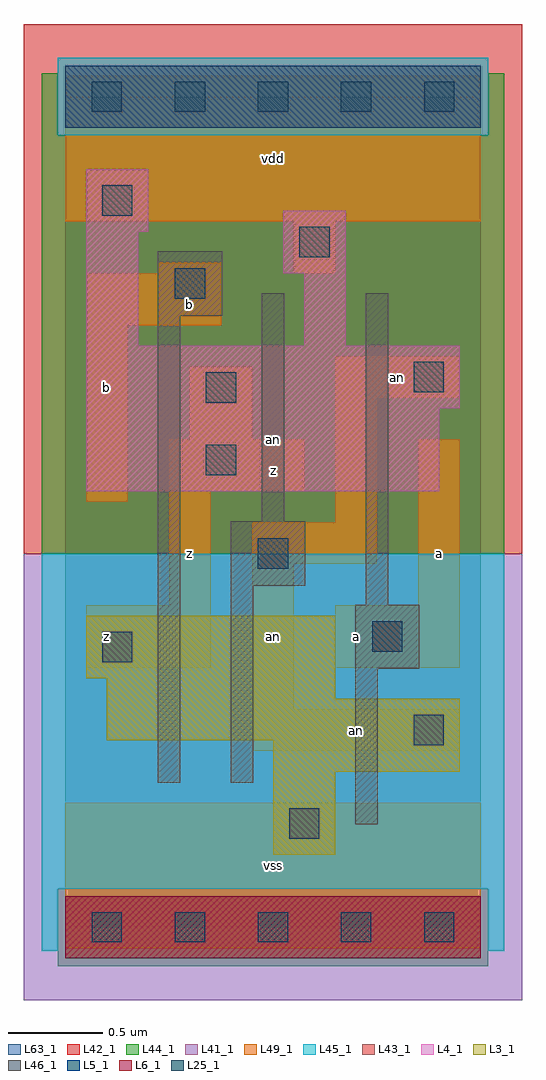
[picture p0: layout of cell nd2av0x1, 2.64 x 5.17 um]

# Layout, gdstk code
import gdstk
lib = gdstk.Library(unit=1e-6, precision=1e-09)
def R(c, l, rs):  # rectangles x0, y0, x1, y1
    for r in rs: c.add(gdstk.rectangle(r[:2], r[2:], *l))
def A(c, l, x, y, w, h, nx, ny, dx, dy):  # array of equal rectangles
    R(c, l, [(x+i*dx, y+j*dy, x+i*dx+w, y+j*dy+h) for i in range(nx) for j in range(ny)])
L3_1 = (3, 1)
L4_1 = (4, 1)
L5_1 = (5, 1)
L6_1 = (6, 1)
L25_1 = (25, 1)
L41_1 = (41, 1)
L42_1 = (42, 1)
L43_1 = (43, 1)
L44_1 = (44, 1)
L45_1 = (45, 1)
L46_1 = (46, 1)
L49_1 = (49, 1)
L63_1 = (63, 1)

nd2av0x1 = lib.new_cell('nd2av0x1')
R(nd2av0x1, L3_1, [(1.1,0.385,1.43,0.825), (1.1,0.825,2.09,0.99), (0.22,0.99,2.09,1.21), (0.22,1.21,1.43,1.32), (0.11,1.32,1.43,1.65)])
R(nd2av0x1, L4_1, [(0.11,2.31,1.98,2.75), (0.11,2.75,2.09,3.08), (0.11,3.08,0.385,3.685), (1.265,3.08,1.485,3.465), (1.155,3.465,1.485,3.795), (0.11,3.685,0.44,4.015)])
R(nd2av0x1, L5_1, [(0,4.235,2.2,4.565)])
R(nd2av0x1, L6_1, [(0,-0.165,2.2,0.165)])
A(nd2av0x1, L25_1, 0.14, -0.08, 0.16, 0.16, 5, 2, 0.44, 4.4)
R(nd2av0x1, L25_1, [(1.185,0.47,1.345,0.63), (1.845,0.965,2.005,1.125), (0.195,1.405,0.355,1.565), (1.625,1.46,1.785,1.62), (1.02,1.9,1.18,2.06), (0.745,2.395,0.905,2.555), (0.745,2.78,0.905,2.94), (1.845,2.835,2.005,2.995), (0.58,3.33,0.74,3.49), (1.24,3.55,1.4,3.71), (0.195,3.77,0.355,3.93)])
R(nd2av0x1, L41_1, [(-0.22,-0.385,2.42,1.98)])
R(nd2av0x1, L42_1, [(-0.22,1.98,2.42,4.785)])
R(nd2av0x1, L43_1, [(0,-0.165,2.2,0.165), (1.1,0.385,1.43,0.825), (1.1,0.825,2.09,0.99), (0.22,0.99,2.09,1.21), (0.22,1.21,1.43,1.32), (0.11,1.32,1.43,1.65), (0.11,2.31,1.98,2.75), (0.11,2.75,2.09,3.08), (0.11,3.08,0.385,3.685), (1.265,3.08,1.485,3.465), (1.155,3.465,1.485,3.795), (0.11,3.685,0.44,4.015), (0,4.235,2.2,4.565)])
R(nd2av0x1, L44_1, [(-0.04,-0.205,2.24,0.205), (-0.125,1.98,2.325,4.195), (-0.125,4.195,-0.04,4.525), (2.24,4.195,2.325,4.525)])
R(nd2av0x1, L45_1, [(-0.125,-0.125,-0.04,0.205), (2.24,-0.125,2.325,0.205), (-0.125,0.205,2.325,1.98), (-0.04,4.195,2.24,4.605)])
R(nd2av0x1, L46_1, [(1.535,0.545,1.655,1.37), (0.49,0.765,0.61,3.24), (0.875,0.765,0.995,1.81), (1.535,1.37,1.875,1.71), (1.59,1.71,1.71,3.36), (0.875,1.81,1.27,2.15), (1.04,2.15,1.16,3.36), (0.49,3.24,0.83,3.58)])
R(nd2av0x1, L49_1, [(0,-0.11,2.2,0.66), (0.99,0.935,2.09,1.155), (0.99,1.155,1.21,1.925), (0.11,1.375,0.77,1.705), (1.43,1.375,2.09,1.705), (0.55,1.705,0.77,2.31), (1.87,1.705,2.09,2.585), (0.99,1.925,1.65,2.145), (1.43,2.145,1.65,2.805), (0.11,2.255,0.33,3.19), (0.55,2.31,1.265,2.585), (0.66,2.585,0.99,2.97), (1.43,2.805,2.09,3.025), (0.11,3.19,0.825,3.465), (0.495,3.465,0.825,3.52), (1.21,3.465,1.43,3.74), (0,3.74,2.2,4.51)])
R(nd2av0x1, L63_1, [(0,0,2.2,4.4)])
nd2av0x1.add(gdstk.Label('an', (1.1,2.585), layer=46, texttype=1))
nd2av0x1.add(gdstk.Label('z', (0.22,1.54), layer=49, texttype=1))
nd2av0x1.add(gdstk.Label('b', (0.22,2.86), layer=49, texttype=1))
nd2av0x1.add(gdstk.Label('z', (0.66,1.98), layer=49, texttype=1))
nd2av0x1.add(gdstk.Label('b', (0.66,3.3), layer=49, texttype=1))
nd2av0x1.add(gdstk.Label('vss', (1.1,0.33), layer=49, texttype=1))
nd2av0x1.add(gdstk.Label('an', (1.1,1.54), layer=49, texttype=1))
nd2av0x1.add(gdstk.Label('a', (1.54,1.54), layer=49, texttype=1))
nd2av0x1.add(gdstk.Label('z', (1.1,2.42), layer=49, texttype=1))
nd2av0x1.add(gdstk.Label('vdd', (1.1,4.07), layer=49, texttype=1))
nd2av0x1.add(gdstk.Label('an', (1.54,1.045), layer=49, texttype=1))
nd2av0x1.add(gdstk.Label('a', (1.98,1.98), layer=49, texttype=1))
nd2av0x1.add(gdstk.Label('an', (1.76,2.915), layer=49, texttype=1))

lib.write_gds('nd2av0x1.gds')
